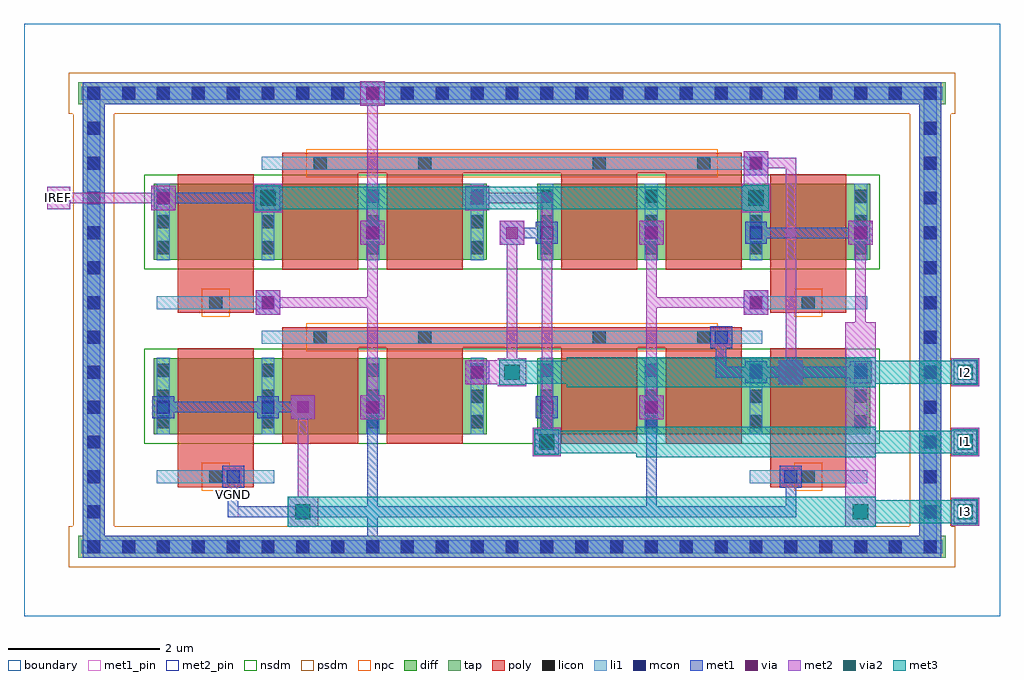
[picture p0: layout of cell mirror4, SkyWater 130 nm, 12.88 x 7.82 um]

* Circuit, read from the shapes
.subckt mirror4 I1 I2 I3 IREF VGND
XM1 I3 VGND I3 VGND sky130_fd_pr__nfet_01v8 w=1 l=1 m=2
XM2 IREF VGND IREF VGND sky130_fd_pr__nfet_01v8 w=1 l=1 m=2
XM3 VGND IREF I3 VGND sky130_fd_pr__nfet_01v8 w=1 l=1 m=2
XM4 VGND IREF IREF VGND sky130_fd_pr__nfet_01v8 w=1 l=1 m=2
XM5 I2 IREF VGND VGND sky130_fd_pr__nfet_01v8 w=1 l=1 m=2
XM6 I1 IREF VGND VGND sky130_fd_pr__nfet_01v8 w=1 l=1 m=2
.ends

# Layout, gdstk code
import gdstk
lib = gdstk.Library(unit=1e-6, precision=1e-09)
def R(c, l, rs):  # rectangles x0, y0, x1, y1
    for r in rs: c.add(gdstk.rectangle(r[:2], r[2:], *l))
def A(c, l, x, y, w, h, nx, ny, dx, dy):  # array of equal rectangles
    R(c, l, [(x+i*dx, y+j*dy, x+i*dx+w, y+j*dy+h) for i in range(nx) for j in range(ny)])
diff = (65, 20)
tap = (65, 44)
poly = (66, 20)
licon = (66, 44)
li1 = (67, 20)
mcon = (67, 44)
met1_pin = (68, 16)
met1 = (68, 20)
via = (68, 44)
met2_pin = (69, 16)
met2 = (69, 20)
via2 = (69, 44)
met3 = (70, 20)
nsdm = (93, 44)
psdm = (94, 20)
npc = (95, 20)
boundary = (235, 4)

mirror4 = lib.new_cell('mirror4')
R(mirror4, diff, [(1.715,2.405,6.105,3.405), (6.775,2.405,11.165,3.405), (1.715,4.705,6.105,5.705), (6.775,4.705,11.165,5.705)])
R(mirror4, tap, [(0.715,0.775,12.165,1.065), (0.775,0.775,1.065,7.045), (11.815,0.775,12.105,7.045), (0.715,6.755,12.165,7.045)])
R(mirror4, poly, [(2.03,1.705,3.03,1.975), (9.85,1.705,10.85,1.975), (2.03,1.84,3.03,3.535), (9.85,1.84,10.85,3.535), (3.41,2.275,4.41,3.68), (4.79,2.275,5.79,3.68), (7.09,2.275,8.09,3.68), (8.47,2.275,9.47,3.68), (3.41,3.545,9.47,3.815), (2.03,4.005,3.03,4.275), (9.85,4.005,10.85,4.275), (2.03,4.14,3.03,5.835), (9.85,4.14,10.85,5.835), (3.41,4.575,4.41,5.98), (4.79,4.575,5.79,5.98), (7.09,4.575,8.09,5.98), (8.47,4.575,9.47,5.98), (3.41,5.845,9.47,6.115)])
A(mirror4, licon, 0.835, 0.835, 0.17, 0.17, 25, 2, 0.46, 5.98)
A(mirror4, licon, 0.835, 1.295, 0.17, 0.17, 1, 12, 0, 0.46)
A(mirror4, licon, 11.875, 1.295, 0.17, 0.17, 1, 12, 0, 0.46)
A(mirror4, licon, 1.755, 2.48, 0.17, 0.17, 4, 3, 1.38, 0.34)
A(mirror4, licon, 6.815, 2.48, 0.17, 0.17, 4, 3, 1.38, 0.34)
A(mirror4, licon, 1.755, 4.78, 0.17, 0.17, 4, 3, 1.38, 0.34)
A(mirror4, licon, 6.815, 4.78, 0.17, 0.17, 4, 3, 1.38, 0.34)
R(mirror4, licon, [(2.445,1.755,2.615,1.925), (10.265,1.755,10.435,1.925), (3.825,3.595,3.995,3.765), (5.205,3.595,5.375,3.765), (7.505,3.595,7.675,3.765), (8.885,3.595,9.055,3.765), (2.445,4.055,2.615,4.225), (10.265,4.055,10.435,4.225), (3.825,5.895,3.995,6.065), (5.205,5.895,5.375,6.065), (7.505,5.895,7.675,6.065), (8.885,5.895,9.055,6.065)])
A(mirror4, li1, 1.755, 2.4, 0.17, 1.01, 4, 2, 1.38, 2.3)
A(mirror4, li1, 6.815, 2.4, 0.17, 1.01, 4, 2, 1.38, 2.3)
R(mirror4, li1, [(0.755,0.835,12.125,1.005), (0.835,0.835,1.005,6.985), (11.875,0.835,12.045,6.985), (1.755,1.755,3.305,1.925), (9.575,1.755,11.125,1.925), (3.135,3.595,9.745,3.765), (1.755,4.055,3.305,4.225), (9.575,4.055,11.125,4.225), (3.135,5.895,9.745,6.065), (0.755,6.815,12.125,6.985)])
A(mirror4, mcon, 0.835, 0.835, 0.17, 0.17, 25, 2, 0.46, 5.98)
A(mirror4, mcon, 0.835, 1.295, 0.17, 0.17, 1, 12, 0, 0.46)
A(mirror4, mcon, 11.875, 1.295, 0.17, 0.17, 1, 12, 0, 0.46)
A(mirror4, mcon, 1.755, 2.675, 0.17, 0.17, 3, 1, 1.38, 0)
A(mirror4, mcon, 6.815, 4.975, 0.17, 0.17, 4, 1, 1.38, 0)
R(mirror4, mcon, [(2.675,1.755,2.845,1.925), (10.035,1.755,10.205,1.925), (6.815,2.675,6.985,2.845), (8.195,2.675,8.365,2.845), (5.895,3.135,6.065,3.305), (9.575,3.135,9.745,3.305), (10.955,3.135,11.125,3.305), (9.115,3.595,9.285,3.765), (3.135,4.055,3.305,4.225), (9.575,4.055,9.745,4.225), (4.515,4.975,4.685,5.145), (1.755,5.435,1.925,5.605), (3.135,5.435,3.305,5.605), (5.895,5.435,6.065,5.605), (9.575,5.895,9.745,6.065)])
R(mirror4, met1_pin, [(2.69,1.31,2.83,1.91)])
A(mirror4, met1, 1.695, 2.615, 0.29, 0.29, 3, 1, 1.38, 0)
A(mirror4, met1, 4.44, 4.9, 0.32, 0.32, 3, 1, 1.84, 0)
A(mirror4, met1, 6.755, 4.915, 0.29, 0.29, 4, 1, 1.38, 0)
R(mirror4, met1, [(0.775,0.775,12.105,1.065), (0.775,0.775,1.065,7.045), (11.815,0.775,12.105,7.045), (4.53,0.85,4.67,0.99), (4.53,0.85,4.67,2.83), (2.69,1.31,2.83,1.91), (2.69,1.31,4.67,1.45), (4.53,1.31,8.35,1.45), (8.21,1.31,10.19,1.45), (8.21,1.31,8.35,2.83), (10.05,1.31,10.19,1.91), (2.615,1.695,2.905,1.985), (9.975,1.695,10.265,1.985), (6.74,2.14,7.06,2.46), (6.83,2.23,6.97,2.83), (3.52,2.6,3.84,2.92), (4.44,2.6,4.76,2.92), (8.12,2.6,8.44,2.92), (6.755,2.615,7.045,2.905), (8.135,2.615,8.425,2.905), (1.77,2.69,3.29,2.83), (3.15,2.69,3.75,2.83), (5.82,3.06,6.14,3.38), (9.96,3.06,10.28,3.38), (5.835,3.075,6.125,3.365), (9.515,3.075,9.805,3.365), (10.895,3.075,11.185,3.365), (9.13,3.15,9.73,3.29), (9.13,3.15,9.27,3.75), (9.59,3.15,11.11,3.29), (9.055,3.535,9.345,3.825), (3.06,3.98,3.38,4.3), (9.5,3.98,9.82,4.3), (3.075,3.995,3.365,4.285), (9.515,3.995,9.805,4.285), (10.88,4.9,11.2,5.22), (4.455,4.915,4.745,5.205), (6.37,4.99,6.97,5.13), (9.59,4.99,11.11,5.13), (1.68,5.36,2,5.68), (3.06,5.36,3.38,5.68), (5.82,5.36,6.14,5.68), (1.695,5.375,1.985,5.665), (3.075,5.375,3.365,5.665), (5.835,5.375,6.125,5.665), (1.77,5.45,3.29,5.59), (9.5,5.82,9.82,6.14), (9.515,5.835,9.805,6.125), (4.44,6.74,4.76,7.06), (0.775,6.755,12.105,7.045), (4.53,6.83,4.67,6.97)])
A(mirror4, via, 4.525, 4.985, 0.15, 0.15, 3, 1, 1.84, 0)
R(mirror4, via, [(6.825,2.225,6.975,2.375), (3.605,2.685,3.755,2.835), (4.525,2.685,4.675,2.835), (8.205,2.685,8.355,2.835), (5.905,3.145,6.055,3.295), (10.045,3.145,10.195,3.295), (3.145,4.065,3.295,4.215), (9.585,4.065,9.735,4.215), (10.965,4.985,11.115,5.135), (1.765,5.445,1.915,5.595), (3.145,5.445,3.295,5.595), (5.905,5.445,6.055,5.595), (9.585,5.905,9.735,6.055), (4.525,6.825,4.675,6.975)])
A(mirror4, met2_pin, 12.27, 1.23, 0.3, 0.3, 1, 3, 0, 0.92)
R(mirror4, met2_pin, [(0.31,5.37,0.61,5.67)])
A(mirror4, met2, 12.235, 1.195, 0.37, 0.37, 1, 3, 0, 0.92)
A(mirror4, met2, 12.27, 1.23, 0.3, 0.3, 1, 3, 0, 0.92)
A(mirror4, met2, 12.35, 1.31, 0.14, 0.14, 1, 3, 0, 0.92)
A(mirror4, met2, 4.44, 4.9, 0.32, 0.32, 3, 1, 1.84, 0)
R(mirror4, met2, [(3.48,1.18,3.88,1.58), (10.84,1.18,11.24,1.58), (10.84,1.18,11.24,3.88), (3.61,1.31,3.75,2.83), (6.715,2.115,7.085,2.485), (6.74,2.14,7.06,2.46), (6.83,2.23,6.97,5.59), (3.52,2.6,3.84,2.92), (4.44,2.6,4.76,2.92), (8.12,2.6,8.44,2.92), (4.53,2.69,4.67,5.13), (8.21,2.69,8.35,5.13), (6.255,3.035,6.625,3.405), (5.82,3.06,6.14,3.38), (6.14,3.06,6.255,3.38), (9.96,3.06,10.28,3.38), (5.91,3.15,6.51,3.29), (6.37,3.15,6.51,5.13), (10.05,3.15,10.19,6.05), (10.97,3.61,11.11,5.13), (3.06,3.98,3.38,4.3), (9.5,3.98,9.82,4.3), (3.15,4.07,4.67,4.21), (8.21,4.07,9.73,4.21), (10.88,4.9,11.2,5.22), (4.53,4.99,4.67,6.97), (3.035,5.335,3.405,5.705), (9.475,5.335,9.845,5.705), (1.68,5.36,2,5.68), (3.06,5.36,3.38,5.68), (5.82,5.36,6.14,5.68), (0.31,5.37,0.61,5.67), (0.39,5.45,0.53,5.59), (0.39,5.45,1.91,5.59), (5.91,5.45,6.97,5.59), (9.59,5.45,9.73,6.05), (9.5,5.705,9.82,5.82), (9.5,5.82,9.82,6.14), (9.59,5.91,10.19,6.05), (4.44,6.74,4.76,7.06)])
A(mirror4, via2, 12.32, 1.28, 0.2, 0.2, 1, 3, 0, 0.92)
R(mirror4, via2, [(3.58,1.28,3.78,1.48), (10.94,1.28,11.14,1.48), (6.8,2.2,7,2.4), (6.34,3.12,6.54,3.32), (3.12,5.42,3.32,5.62), (9.56,5.42,9.76,5.62)])
A(mirror4, met3, 12.255, 1.215, 0.33, 0.33, 1, 3, 0, 0.92)
A(mirror4, met3, 10.89, 1.23, 1.68, 0.3, 1, 3, 0, 0.92)
R(mirror4, met3, [(3.48,1.18,3.88,1.58), (3.48,1.18,11.24,1.58), (10.84,1.18,11.24,1.58), (8.08,2.1,11.24,2.5), (6.735,2.135,7.065,2.465), (6.75,2.15,8.43,2.45), (7.16,3.02,11.24,3.42), (6.275,3.055,6.605,3.385), (6.29,3.07,7.51,3.37), (3.055,5.355,3.385,5.685), (9.495,5.355,9.825,5.685), (3.07,5.37,9.81,5.67)])
R(mirror4, nsdm, [(1.59,2.28,11.29,3.53), (1.59,4.58,11.29,5.83)])
R(mirror4, psdm, [(0.59,0.65,12.29,1.19), (0.65,1.19,1.19,6.63), (11.69,1.19,12.23,6.63), (0.59,6.63,12.29,7.17)])
R(mirror4, npc, [(2.345,1.655,2.715,2.025), (10.165,1.655,10.535,2.025), (3.725,3.495,9.155,3.865), (2.345,3.955,2.715,4.325), (10.165,3.955,10.535,4.325), (3.725,5.795,9.155,6.165)])
R(mirror4, boundary, [(0,0,12.88,7.82)])
mirror4.add(gdstk.Label('VGND', (2.76,1.61), layer=68, texttype=5))
mirror4.add(gdstk.Label('IREF', (0.46,5.52), layer=69, texttype=5))
mirror4.add(gdstk.Label('I1', (12.42,2.3), layer=69, texttype=5))
mirror4.add(gdstk.Label('I2', (12.42,3.22), layer=69, texttype=5))
mirror4.add(gdstk.Label('I3', (12.42,1.38), layer=69, texttype=5))
mirror4.add(gdstk.Label('VGND', (2.76,1.61), layer=68, texttype=16))
mirror4.add(gdstk.Label('IREF', (0.46,5.52), layer=69, texttype=16))
mirror4.add(gdstk.Label('I1', (12.42,2.3), layer=69, texttype=16))
mirror4.add(gdstk.Label('I2', (12.42,3.22), layer=69, texttype=16))
mirror4.add(gdstk.Label('I3', (12.42,1.38), layer=69, texttype=16))

lib.write_gds('mirror4.gds')
